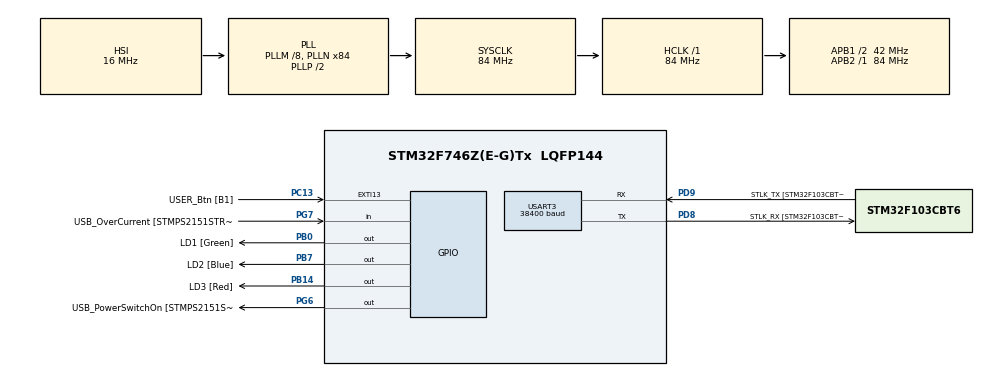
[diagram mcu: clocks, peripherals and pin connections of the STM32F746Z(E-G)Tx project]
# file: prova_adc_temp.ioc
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ADC1.Channel-4\#ChannelRegularConversion=ADC_CHANNEL_TEMPSENSOR
ADC1.ClockPrescaler=ADC_CLOCK_SYNC_PCLK_DIV4
ADC1.ContinuousConvMode=DISABLE
ADC1.DMAContinuousRequests=DISABLE
ADC1.DataAlign=ADC_DATAALIGN_RIGHT
ADC1.DiscontinuousConvMode=DISABLE
ADC1.EOCSelection=ADC_EOC_SINGLE_CONV
ADC1.EnableAnalogWatchDog=false
ADC1.ExternalTrigConv=ADC_SOFTWARE_START
ADC1.ExternalTrigConvEdge=ADC_EXTERNALTRIGCONVEDGE_NONE
ADC1.InjNumberOfConversion=0
ADC1.NbrOfConversion=1
ADC1.NbrOfConversionFlag=1
ADC1.Rank-4\#ChannelRegularConversion=1
ADC1.Resolution=ADC_RESOLUTION_12B
ADC1.SamplingTime-4\#ChannelRegularConversion=ADC_SAMPLETIME_3CYCLES
ADC1.ScanConvMode=DISABLE
ADC1.master=1
Mcu.Family=STM32F7
Mcu.Name=STM32F746Z(E-G)Tx
Mcu.Package=LQFP144
NVIC.PriorityGroup=NVIC_PRIORITYGROUP_4
NVIC.USART3_IRQn=true\:0\:0\:false\:false\:true
PA1.GPIO_Label=RMII_REF_CLK [LAN8742A-CZ-TR_REFCLK0]
PA1.Signal=ETH_REF_CLK
PA10.GPIO_Label=USB_ID
PA10.Signal=USB_OTG_FS_ID
PA11.GPIO_Label=USB_DM
PA11.Signal=USB_OTG_FS_DM
PA12.GPIO_Label=USB_DP
PA12.Signal=USB_OTG_FS_DP
PA13.GPIO_Label=TMS
PA13.Signal=SYS_JTMS-SWDIO
PA14.GPIO_Label=TCK
PA14.Signal=SYS_JTCK-SWCLK
PA2.GPIO_Label=RMII_MDIO [LAN8742A-CZ-TR_MDIO]
PA2.Signal=ETH_MDIO
PA7.GPIO_Label=RMII_CRS_DV [LAN8742A-CZ-TR_CRS_DV]
PA7.Signal=ETH_CRS_DV
PA8.GPIO_Label=USB_SOF [TP1]
PA8.Signal=USB_OTG_FS_SOF
PA9.GPIO_Label=USB_VBUS
PA9.Signal=USB_OTG_FS_VBUS
PB0.GPIO_Label=LD1 [Green]
PB0.Signal=GPIO_Output
PB13.GPIO_Label=RMII_TXD1 [LAN8742A-CZ-TR_TXD1]
PB13.Signal=ETH_TXD1
PB14.GPIO_Label=LD3 [Red]
PB14.Signal=GPIO_Output
PB3.GPIO_Label=SW0
PB3.Signal=SYS_JTDO-SWO
PB7.GPIO_Label=LD2 [Blue]
PB7.Signal=GPIO_Output
PC1.GPIO_Label=RMII_MDC [LAN8742A-CZ-TR_MDC]
PC1.Signal=ETH_MDC
PC13.GPIO_Label=USER_Btn [B1]
PC13.Signal=GPXTI13
PC14/OSC32_IN.Signal=RCC_OSC32_IN
PC15/OSC32_OUT.Signal=RCC_OSC32_OUT
PC4.GPIO_Label=RMII_RXD0 [LAN8742A-CZ-TR_RXD0]
PC4.Signal=ETH_RXD0
PC5.GPIO_Label=RMII_RXD1 [LAN8742A-CZ-TR_RXD1]
PC5.Signal=ETH_RXD1
PD8.GPIO_Label=STLK_RX [STM32F103CBT6_PA3]
PD8.Mode=Asynchronous
PD8.Signal=USART3_TX
PD9.GPIO_Label=STLK_TX [STM32F103CBT6_PA2]
PD9.Mode=Asynchronous
PD9.Signal=USART3_RX
PG11.GPIO_Label=RMII_TX_EN [LAN8742A-CZ-TR_TXEN]
PG11.Signal=ETH_TX_EN
PG13.GPIO_Label=RMII_TXD0 [LAN8742A-CZ-TR_TXD0]
PG13.Signal=ETH_TXD0
PG6.GPIO_Label=USB_PowerSwitchOn [STMPS2151STR_EN]
PG6.Signal=GPIO_Output
PG7.GPIO_Label=USB_OverCurrent [STMPS2151STR_FAULT]
PG7.Signal=GPIO_Input
PH0/OSC_IN.GPIO_Label=MCO [STM32F103CBT6_PA8]
PH0/OSC_IN.Signal=RCC_OSC_IN
PH1/OSC_OUT.Signal=RCC_OSC_OUT
ProjectManager.HeapSize=0x200
ProjectManager.StackSize=0x400
ProjectManager.TargetToolchain=MDK-ARM V5
RCC.48MHZClocksFreq_Value=24000000
RCC.AHBFreq_Value=84000000
RCC.APB1CLKDivider=RCC_HCLK_DIV2
RCC.APB1Freq_Value=42000000
RCC.APB1TimFreq_Value=84000000
RCC.APB2Freq_Value=84000000
RCC.APB2TimFreq_Value=84000000
RCC.CortexFreq_Value=84000000
RCC.HCLKFreq_Value=84000000
RCC.HSE_VALUE=8000000
RCC.HSI_VALUE=16000000
RCC.LSE_VALUE=32768
RCC.PLLM=8
RCC.PLLMUL=RCC_PLL_MUL9
RCC.PLLN=84
RCC.PRESCALERUSB=RCC_USBCLKSOURCE_PLL_DIV1_5
RCC.SYSCLKFreq_VALUE=84000000
RCC.SYSCLKSource=RCC_SYSCLKSOURCE_PLLCLK
RCC.SYSCLKSourceVirtual=RCC_SYSCLKSOURCE_PLLCLK
RCC.USBFreq_Value=84000000
RCC.VCOOutputFreq_Value=168000000
USART3.BaudRate=38400
USART3.DMADisableonRxErrorParam=UART_ADVFEATURE_DMA_ENABLEONRXERROR
USART3.OverrunDisableParam=UART_ADVFEATURE_OVERRUN_ENABLE
USART3.VirtualMode-Asynchronous=VM_ASYNC
USART3.WordLength=WORDLENGTH_8B
VP_ADC1_TempSens_Input.Mode=IN-TempSens
board=NUCLEO-F746ZG

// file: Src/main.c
/**
  ******************************************************************************
  * File Name          : main.c
  * Description        : Main program body
  ******************************************************************************
  *
  * COPYRIGHT(c) 2017 STMicroelectronics
  *
  * Redistribution and use in source and binary forms, with or without modification,
  * are permitted provided that the following conditions are met:
  *   1. Redistributions of source code must retain the above copyright notice,
  *      this list of conditions and the following disclaimer.
  *   2. Redistributions in binary form must reproduce the above copyright notice,
  *      this list of conditions and the following disclaimer in the documentation
  *      and/or other materials provided with the distribution.
  *   3. Neither the name of STMicroelectronics nor the names of its contributors
  *      may be used to endorse or promote products derived from this software
  *      without specific prior written permission.
  *
  * THIS SOFTWARE IS PROVIDED BY THE COPYRIGHT HOLDERS AND CONTRIBUTORS "AS IS"
  * AND ANY EXPRESS OR IMPLIED WARRANTIES, INCLUDING, BUT NOT LIMITED TO, THE
  * IMPLIED WARRANTIES OF MERCHANTABILITY AND FITNESS FOR A PARTICULAR PURPOSE ARE
  * DISCLAIMED. IN NO EVENT SHALL THE COPYRIGHT HOLDER OR CONTRIBUTORS BE LIABLE
  * FOR ANY DIRECT, INDIRECT, INCIDENTAL, SPECIAL, EXEMPLARY, OR CONSEQUENTIAL
  * DAMAGES (INCLUDING, BUT NOT LIMITED TO, PROCUREMENT OF SUBSTITUTE GOODS OR
  * SERVICES; LOSS OF USE, DATA, OR PROFITS; OR BUSINESS INTERRUPTION) HOWEVER
  * CAUSED AND ON ANY THEORY OF LIABILITY, WHETHER IN CONTRACT, STRICT LIABILITY,
  * OR TORT (INCLUDING NEGLIGENCE OR OTHERWISE) ARISING IN ANY WAY OUT OF THE USE
  * OF THIS SOFTWARE, EVEN IF ADVISED OF THE POSSIBILITY OF SUCH DAMAGE.
  *
  ******************************************************************************
  */
#include "main.h"
#include "stm32f7xx_hal.h"

ADC_HandleTypeDef hadc1;

UART_HandleTypeDef huart3;

/* USER CODE BEGIN PV */
/* Private variables ---------------------------------------------------------*/
	uint16_t rawValue;
	float temp;
/* USER CODE END PV */

void SystemClock_Config(void);
void Error_Handler(void);
static void MX_GPIO_Init(void);
static void MX_ADC1_Init(void);
static void MX_USART3_UART_Init(void);

/* USER CODE BEGIN PFP */
/* Private function prototypes -----------------------------------------------*/

/* USER CODE END PFP */

int main(void)
{

  /* MCU Configuration----------------------------------------------------------*/

  /* Reset of all peripherals, Initializes the Flash interface and the Systick. */
  HAL_Init();

  /* Configure the system clock */
  SystemClock_Config();

  /* Initialize all configured peripherals */
  MX_GPIO_Init();
  MX_ADC1_Init();
  MX_USART3_UART_Init();

  /* USER CODE BEGIN 2 */
	HAL_ADC_Start(&hadc1);
  /* USER CODE END 2 */

  /* Infinite loop */
  while (1)
  {

  /* USER CODE BEGIN 3 */
	char msg[20];

	HAL_ADC_Start(&hadc1);
	HAL_ADC_PollForConversion(&hadc1, HAL_MAX_DELAY);
	rawValue = HAL_ADC_GetValue(&hadc1);
	temp = ((float)rawValue) / 4095 * 3300;
	temp = ((temp - 760.0) / 2.5) + 25;

	sprintf(msg, "rawValue: %hu\r\n", rawValue);
	HAL_UART_Transmit(&huart3, (uint8_t*) msg, strlen(msg), HAL_MAX_DELAY);

	sprintf(msg, "Temperature: %f\r\n", temp);
	HAL_UART_Transmit(&huart3, (uint8_t*) msg, strlen(msg), HAL_MAX_DELAY);

	HAL_ADC_Stop(&hadc1);

	HAL_Delay(200);

  }
  /* USER CODE END 3 */

}

/** System Clock Configuration
*/
void SystemClock_Config(void)
{

  RCC_OscInitTypeDef RCC_OscInitStruct;
  RCC_ClkInitTypeDef RCC_ClkInitStruct;
  RCC_PeriphCLKInitTypeDef PeriphClkInitStruct;

    /**Configure the main internal regulator output voltage
    */
  __HAL_RCC_PWR_CLK_ENABLE();

  __HAL_PWR_VOLTAGESCALING_CONFIG(PWR_REGULATOR_VOLTAGE_SCALE3);

    /**Initializes the CPU, AHB and APB busses clocks
    */
  RCC_OscInitStruct.OscillatorType = RCC_OSCILLATORTYPE_HSI;
  RCC_OscInitStruct.HSIState = RCC_HSI_ON;
  RCC_OscInitStruct.HSICalibrationValue = 16;
  RCC_OscInitStruct.PLL.PLLState = RCC_PLL_ON;
  RCC_OscInitStruct.PLL.PLLSource = RCC_PLLSOURCE_HSI;
  RCC_OscInitStruct.PLL.PLLM = 8;
  RCC_OscInitStruct.PLL.PLLN = 84;
  RCC_OscInitStruct.PLL.PLLP = RCC_PLLP_DIV2;
  RCC_OscInitStruct.PLL.PLLQ = 2;
  if (HAL_RCC_OscConfig(&RCC_OscInitStruct) != HAL_OK)
  {
    Error_Handler();
  }

    /**Initializes the CPU, AHB and APB busses clocks
    */
  RCC_ClkInitStruct.ClockType = RCC_CLOCKTYPE_HCLK|RCC_CLOCKTYPE_SYSCLK
                              |RCC_CLOCKTYPE_PCLK1|RCC_CLOCKTYPE_PCLK2;
  RCC_ClkInitStruct.SYSCLKSource = RCC_SYSCLKSOURCE_PLLCLK;
  RCC_ClkInitStruct.AHBCLKDivider = RCC_SYSCLK_DIV1;
  RCC_ClkInitStruct.APB1CLKDivider = RCC_HCLK_DIV2;
  RCC_ClkInitStruct.APB2CLKDivider = RCC_HCLK_DIV1;

  if (HAL_RCC_ClockConfig(&RCC_ClkInitStruct, FLASH_LATENCY_2) != HAL_OK)
  {
    Error_Handler();
  }

  PeriphClkInitStruct.PeriphClockSelection = RCC_PERIPHCLK_USART3;
  PeriphClkInitStruct.Usart3ClockSelection = RCC_USART3CLKSOURCE_PCLK1;
  if (HAL_RCCEx_PeriphCLKConfig(&PeriphClkInitStruct) != HAL_OK)
  {
    Error_Handler();
  }

    /**Configure the Systick interrupt time
    */
  HAL_SYSTICK_Config(HAL_RCC_GetHCLKFreq()/1000);

    /**Configure the Systick
    */
  HAL_SYSTICK_CLKSourceConfig(SYSTICK_CLKSOURCE_HCLK);

  /* SysTick_IRQn interrupt configuration */
  HAL_NVIC_SetPriority(SysTick_IRQn, 0, 0);
}

/* ADC1 init function */
static void MX_ADC1_Init(void)
{

  ADC_ChannelConfTypeDef sConfig;

    /**Configure the global features of the ADC (Clock, Resolution, Data Alignment and number of conversion)
    */
  hadc1.Instance = ADC1;
  hadc1.Init.ClockPrescaler = ADC_CLOCK_SYNC_PCLK_DIV4;
  hadc1.Init.Resolution = ADC_RESOLUTION_12B;
  hadc1.Init.ScanConvMode = DISABLE;
  hadc1.Init.ContinuousConvMode = DISABLE;
  hadc1.Init.DiscontinuousConvMode = DISABLE;
  hadc1.Init.ExternalTrigConvEdge = ADC_EXTERNALTRIGCONVEDGE_NONE;
  hadc1.Init.ExternalTrigConv = ADC_SOFTWARE_START;
  hadc1.Init.DataAlign = ADC_DATAALIGN_RIGHT;
  hadc1.Init.NbrOfConversion = 1;
  hadc1.Init.DMAContinuousRequests = DISABLE;
  hadc1.Init.EOCSelection = ADC_EOC_SINGLE_CONV;
  if (HAL_ADC_Init(&hadc1) != HAL_OK)
  {
    Error_Handler();
  }

    /**Configure for the selected ADC regular channel its corresponding rank in the sequencer and its sample time.
    */
  sConfig.Channel = ADC_CHANNEL_TEMPSENSOR;
  sConfig.Rank = 1;
  sConfig.SamplingTime = ADC_SAMPLETIME_480CYCLES;
  if (HAL_ADC_ConfigChannel(&hadc1, &sConfig) != HAL_OK)
  {
    Error_Handler();
  }

}

/* USART3 init function */
static void MX_USART3_UART_Init(void)
{

  huart3.Instance = USART3;
  huart3.Init.BaudRate = 38400;
  huart3.Init.WordLength = UART_WORDLENGTH_8B;
  huart3.Init.StopBits = UART_STOPBITS_1;
  huart3.Init.Parity = UART_PARITY_NONE;
  huart3.Init.Mode = UART_MODE_TX_RX;
  huart3.Init.HwFlowCtl = UART_HWCONTROL_NONE;
  huart3.Init.OverSampling = UART_OVERSAMPLING_16;
  huart3.Init.OneBitSampling = UART_ONE_BIT_SAMPLE_DISABLE;
  huart3.AdvancedInit.AdvFeatureInit = UART_ADVFEATURE_NO_INIT;
  if (HAL_UART_Init(&huart3) != HAL_OK)
  {
    Error_Handler();
  }

}

/** Configure pins as
        * Analog
        * Input
        * Output
        * EVENT_OUT
        * EXTI
     PC1   ------> ETH_MDC
     PA1   ------> ETH_REF_CLK
     PA2   ------> ETH_MDIO
     PA7   ------> ETH_CRS_DV
     PC4   ------> ETH_RXD0
     PC5   ------> ETH_RXD1
     PB13   ------> ETH_TXD1
     PA8   ------> USB_OTG_FS_SOF
     PA9   ------> USB_OTG_FS_VBUS
     PA10   ------> USB_OTG_FS_ID
     PA11   ------> USB_OTG_FS_DM
     PA12   ------> USB_OTG_FS_DP
     PG11   ------> ETH_TX_EN
     PG13   ------> ETH_TXD0
*/
static void MX_GPIO_Init(void)
{

  GPIO_InitTypeDef GPIO_InitStruct;

  /* GPIO Ports Clock Enable */
  __HAL_RCC_GPIOC_CLK_ENABLE();
  __HAL_RCC_GPIOH_CLK_ENABLE();
  __HAL_RCC_GPIOA_CLK_ENABLE();
  __HAL_RCC_GPIOB_CLK_ENABLE();
  __HAL_RCC_GPIOD_CLK_ENABLE();
  __HAL_RCC_GPIOG_CLK_ENABLE();

  /*Configure GPIO pin Output Level */
  HAL_GPIO_WritePin(GPIOB, LD1_Pin|LD3_Pin|LD2_Pin, GPIO_PIN_RESET);

  /*Configure GPIO pin Output Level */
  HAL_GPIO_WritePin(USB_PowerSwitchOn_GPIO_Port, USB_PowerSwitchOn_Pin, GPIO_PIN_RESET);

  /*Configure GPIO pin : USER_Btn_Pin */
  GPIO_InitStruct.Pin = USER_Btn_Pin;
  GPIO_InitStruct.Mode = GPIO_MODE_IT_RISING;
  GPIO_InitStruct.Pull = GPIO_NOPULL;
  HAL_GPIO_Init(USER_Btn_GPIO_Port, &GPIO_InitStruct);

  /*Configure GPIO pins : RMII_MDC_Pin RMII_RXD0_Pin RMII_RXD1_Pin */
  GPIO_InitStruct.Pin = RMII_MDC_Pin|RMII_RXD0_Pin|RMII_RXD1_Pin;
  GPIO_InitStruct.Mode = GPIO_MODE_AF_PP;
  GPIO_InitStruct.Pull = GPIO_NOPULL;
  GPIO_InitStruct.Speed = GPIO_SPEED_FREQ_VERY_HIGH;
  GPIO_InitStruct.Alternate = GPIO_AF11_ETH;
  HAL_GPIO_Init(GPIOC, &GPIO_InitStruct);

  /*Configure GPIO pins : RMII_REF_CLK_Pin RMII_MDIO_Pin RMII_CRS_DV_Pin */
  GPIO_InitStruct.Pin = RMII_REF_CLK_Pin|RMII_MDIO_Pin|RMII_CRS_DV_Pin;
  GPIO_InitStruct.Mode = GPIO_MODE_AF_PP;
  GPIO_InitStruct.Pull = GPIO_NOPULL;
  GPIO_InitStruct.Speed = GPIO_SPEED_FREQ_VERY_HIGH;
  GPIO_InitStruct.Alternate = GPIO_AF11_ETH;
  HAL_GPIO_Init(GPIOA, &GPIO_InitStruct);

  /*Configure GPIO pins : LD1_Pin LD3_Pin LD2_Pin */
  GPIO_InitStruct.Pin = LD1_Pin|LD3_Pin|LD2_Pin;
  GPIO_InitStruct.Mode = GPIO_MODE_OUTPUT_PP;
  GPIO_InitStruct.Pull = GPIO_NOPULL;
  GPIO_InitStruct.Speed = GPIO_SPEED_FREQ_LOW;
  HAL_GPIO_Init(GPIOB, &GPIO_InitStruct);

  /*Configure GPIO pin : RMII_TXD1_Pin */
  GPIO_InitStruct.Pin = RMII_TXD1_Pin;
  GPIO_InitStruct.Mode = GPIO_MODE_AF_PP;
  GPIO_InitStruct.Pull = GPIO_NOPULL;
  GPIO_InitStruct.Speed = GPIO_SPEED_FREQ_VERY_HIGH;
  GPIO_InitStruct.Alternate = GPIO_AF11_ETH;
  HAL_GPIO_Init(RMII_TXD1_GPIO_Port, &GPIO_InitStruct);

  /*Configure GPIO pin : USB_PowerSwitchOn_Pin */
  GPIO_InitStruct.Pin = USB_PowerSwitchOn_Pin;
  GPIO_InitStruct.Mode = GPIO_MODE_OUTPUT_PP;
  GPIO_InitStruct.Pull = GPIO_NOPULL;
  GPIO_InitStruct.Speed = GPIO_SPEED_FREQ_LOW;
  HAL_GPIO_Init(USB_PowerSwitchOn_GPIO_Port, &GPIO_InitStruct);

  /*Configure GPIO pin : USB_OverCurrent_Pin */
  GPIO_InitStruct.Pin = USB_OverCurrent_Pin;
  GPIO_InitStruct.Mode = GPIO_MODE_INPUT;
  GPIO_InitStruct.Pull = GPIO_NOPULL;
  HAL_GPIO_Init(USB_OverCurrent_GPIO_Port, &GPIO_InitStruct);

  /*Configure GPIO pins : USB_SOF_Pin USB_ID_Pin USB_DM_Pin USB_DP_Pin */
  GPIO_InitStruct.Pin = USB_SOF_Pin|USB_ID_Pin|USB_DM_Pin|USB_DP_Pin;
  GPIO_InitStruct.Mode = GPIO_MODE_AF_PP;
  GPIO_InitStruct.Pull = GPIO_NOPULL;
  GPIO_InitStruct.Speed = GPIO_SPEED_FREQ_VERY_HIGH;
  GPIO_InitStruct.Alternate = GPIO_AF10_OTG_FS;
  HAL_GPIO_Init(GPIOA, &GPIO_InitStruct);

  /*Configure GPIO pin : USB_VBUS_Pin */
  GPIO_InitStruct.Pin = USB_VBUS_Pin;
  GPIO_InitStruct.Mode = GPIO_MODE_INPUT;
  GPIO_InitStruct.Pull = GPIO_NOPULL;
  HAL_GPIO_Init(USB_VBUS_GPIO_Port, &GPIO_InitStruct);

  /*Configure GPIO pins : RMII_TX_EN_Pin RMII_TXD0_Pin */
  GPIO_InitStruct.Pin = RMII_TX_EN_Pin|RMII_TXD0_Pin;
  GPIO_InitStruct.Mode = GPIO_MODE_AF_PP;
  GPIO_InitStruct.Pull = GPIO_NOPULL;
  GPIO_InitStruct.Speed = GPIO_SPEED_FREQ_VERY_HIGH;
  GPIO_InitStruct.Alternate = GPIO_AF11_ETH;
  HAL_GPIO_Init(GPIOG, &GPIO_InitStruct);

}

void Error_Handler(void)
{
  /* USER CODE BEGIN Error_Handler */
  /* User can add his own implementation to report the HAL error return state */
  while(1)
  {
		HAL_GPIO_TogglePin(LD1_GPIO_Port, LD1_Pin);
  }
  /* USER CODE END Error_Handler */
}

/************************ (C) COPYRIGHT STMicroelectronics *****END OF FILE****/
